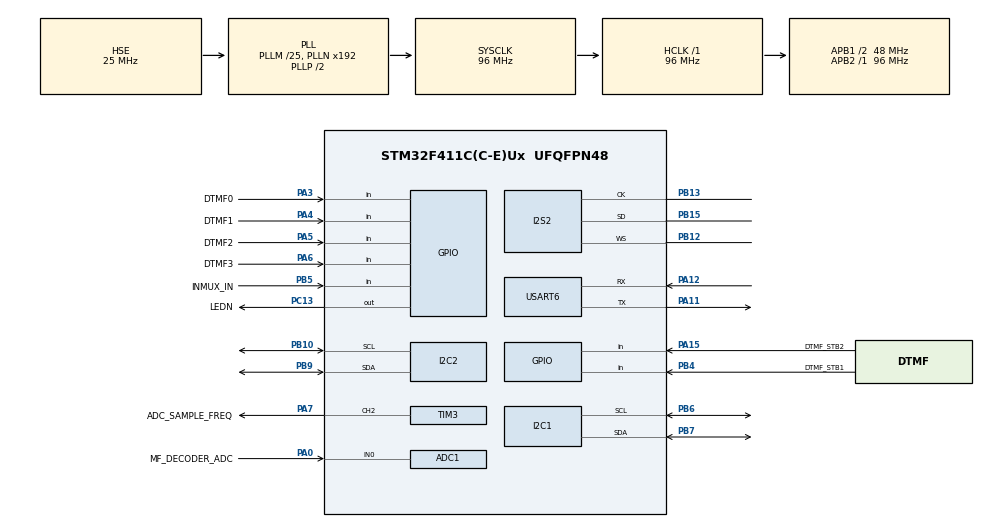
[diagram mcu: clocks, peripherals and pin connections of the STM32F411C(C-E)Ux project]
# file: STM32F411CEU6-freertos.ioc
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ADC1.Channel-6\#ChannelRegularConversion=ADC_CHANNEL_0
ADC1.ClockPrescaler=ADC_CLOCK_SYNC_PCLK_DIV8
ADC1.ContinuousConvMode=DISABLE
ADC1.DMAContinuousRequests=ENABLE
ADC1.DiscontinuousConvMode=DISABLE
ADC1.EnableAnalogWatchDog=true
ADC1.ExternalTrigConv=ADC_EXTERNALTRIGCONV_T3_TRGO
ADC1.InjNumberOfConversion=0
ADC1.NbrOfConversion=1
ADC1.NbrOfConversionFlag=1
ADC1.Rank-6\#ChannelRegularConversion=1
ADC1.SamplingTime-6\#ChannelRegularConversion=ADC_SAMPLETIME_112CYCLES
ADC1.ScanConvMode=DISABLE
ADC1.master=1
Dma.ADC1.0.Direction=DMA_PERIPH_TO_MEMORY
Dma.ADC1.0.FIFOMode=DMA_FIFOMODE_DISABLE
Dma.ADC1.0.Instance=DMA2_Stream0
Dma.ADC1.0.MemDataAlignment=DMA_MDATAALIGN_HALFWORD
Dma.ADC1.0.MemInc=DMA_MINC_ENABLE
Dma.ADC1.0.Mode=DMA_CIRCULAR
Dma.ADC1.0.PeriphDataAlignment=DMA_PDATAALIGN_HALFWORD
Dma.ADC1.0.PeriphInc=DMA_PINC_DISABLE
Dma.ADC1.0.Priority=DMA_PRIORITY_HIGH
Dma.I2C1_RX.5.Direction=DMA_PERIPH_TO_MEMORY
Dma.I2C1_RX.5.FIFOMode=DMA_FIFOMODE_DISABLE
Dma.I2C1_RX.5.Instance=DMA1_Stream0
Dma.I2C1_RX.5.MemDataAlignment=DMA_MDATAALIGN_BYTE
Dma.I2C1_RX.5.MemInc=DMA_MINC_ENABLE
Dma.I2C1_RX.5.Mode=DMA_NORMAL
Dma.I2C1_RX.5.PeriphDataAlignment=DMA_PDATAALIGN_BYTE
Dma.I2C1_RX.5.PeriphInc=DMA_PINC_DISABLE
Dma.I2C1_RX.5.Priority=DMA_PRIORITY_LOW
Dma.I2C1_TX.4.Direction=DMA_MEMORY_TO_PERIPH
Dma.I2C1_TX.4.FIFOMode=DMA_FIFOMODE_DISABLE
Dma.I2C1_TX.4.Instance=DMA1_Stream1
Dma.I2C1_TX.4.MemDataAlignment=DMA_MDATAALIGN_BYTE
Dma.I2C1_TX.4.MemInc=DMA_MINC_ENABLE
Dma.I2C1_TX.4.Mode=DMA_NORMAL
Dma.I2C1_TX.4.PeriphDataAlignment=DMA_PDATAALIGN_BYTE
Dma.I2C1_TX.4.PeriphInc=DMA_PINC_DISABLE
Dma.I2C1_TX.4.Priority=DMA_PRIORITY_LOW
Dma.I2C2_RX.3.Direction=DMA_PERIPH_TO_MEMORY
Dma.I2C2_RX.3.FIFOMode=DMA_FIFOMODE_DISABLE
Dma.I2C2_RX.3.Instance=DMA1_Stream2
Dma.I2C2_RX.3.MemDataAlignment=DMA_MDATAALIGN_BYTE
Dma.I2C2_RX.3.MemInc=DMA_MINC_ENABLE
Dma.I2C2_RX.3.Mode=DMA_NORMAL
Dma.I2C2_RX.3.PeriphDataAlignment=DMA_PDATAALIGN_BYTE
Dma.I2C2_RX.3.PeriphInc=DMA_PINC_DISABLE
Dma.I2C2_RX.3.Priority=DMA_PRIORITY_LOW
Dma.I2C2_TX.2.Direction=DMA_MEMORY_TO_PERIPH
Dma.I2C2_TX.2.FIFOMode=DMA_FIFOMODE_DISABLE
Dma.I2C2_TX.2.Instance=DMA1_Stream7
Dma.I2C2_TX.2.MemDataAlignment=DMA_MDATAALIGN_BYTE
Dma.I2C2_TX.2.MemInc=DMA_MINC_ENABLE
Dma.I2C2_TX.2.Mode=DMA_NORMAL
Dma.I2C2_TX.2.PeriphDataAlignment=DMA_PDATAALIGN_BYTE
Dma.I2C2_TX.2.PeriphInc=DMA_PINC_DISABLE
Dma.I2C2_TX.2.Priority=DMA_PRIORITY_LOW
Dma.Request0=ADC1
Dma.Request1=SPI2_TX
Dma.Request2=I2C2_TX
Dma.Request3=I2C2_RX
Dma.Request4=I2C1_TX
Dma.Request5=I2C1_RX
Dma.SPI2_TX.1.Direction=DMA_MEMORY_TO_PERIPH
Dma.SPI2_TX.1.FIFOMode=DMA_FIFOMODE_DISABLE
Dma.SPI2_TX.1.Instance=DMA1_Stream4
Dma.SPI2_TX.1.MemDataAlignment=DMA_MDATAALIGN_HALFWORD
Dma.SPI2_TX.1.MemInc=DMA_MINC_ENABLE
Dma.SPI2_TX.1.Mode=DMA_CIRCULAR
Dma.SPI2_TX.1.PeriphDataAlignment=DMA_PDATAALIGN_HALFWORD
Dma.SPI2_TX.1.PeriphInc=DMA_PINC_DISABLE
Dma.SPI2_TX.1.Priority=DMA_PRIORITY_HIGH
FREERTOS.Queues01=Queue_MF_buffer,1,uint8_t,0,Dynamic,NULL,NULL;Queue_I2S_Audio,1,uint8_t,0,Dynamic,NULL,NULL;Queue_I2C_Busses,4,I2C_Queue_Message,0,Dynamic,NULL,NULL
FREERTOS.Tasks01=Console,24,512,Task_console,Default,NULL,Dynamic,NULL,NULL;MF_Receiver,40,256,Task_MF_receiver,Default,NULL,Dynamic,NULL,NULL;Switch,24,1024,Task_Switch,Default,NULL,Dynamic,NULL,NULL;I2sAudio,40,256,Task_I2S_Audio,Default,NULL,Dynamic,NULL,NULL;I2C_Task,24,256,Task_I2C,Default,NULL,Dynamic,NULL,NULL
FREERTOS.configTOTAL_HEAP_SIZE=32768
FREERTOS.configUSE_NEWLIB_REENTRANT=1
I2C2.NoStretchMode=I2C_NOSTRETCH_DISABLE
I2S2.AudioFreq=I2S_AUDIOFREQ_8K
I2S2.ClockSource=I2S_CLOCK_PLL
I2S2.ErrorAudioFreq=0.15 %
I2S2.FullDuplexMode=I2S_FULLDUPLEXMODE_DISABLE
I2S2.Instance=SPI$Index
I2S2.RealAudioFreq=8.012 KHz
I2S2.VirtualMode=I2S_MODE_MASTER
Mcu.Family=STM32F4
Mcu.Name=STM32F411C(C-E)Ux
Mcu.Package=UFQFPN48
NVIC.DMA1_Stream0_IRQn=true\:5\:0\:false\:false\:true\:true\:false\:true\:true
NVIC.DMA1_Stream1_IRQn=true\:5\:0\:false\:false\:true\:true\:false\:true\:true
NVIC.DMA1_Stream2_IRQn=true\:5\:0\:false\:false\:true\:true\:false\:true\:true
NVIC.DMA1_Stream4_IRQn=true\:5\:0\:false\:false\:true\:true\:false\:true\:true
NVIC.DMA1_Stream7_IRQn=true\:5\:0\:false\:false\:true\:true\:false\:true\:true
NVIC.DMA2_Stream0_IRQn=true\:5\:0\:true\:false\:true\:true\:false\:true\:true
NVIC.I2C1_ER_IRQn=true\:5\:0\:false\:false\:true\:true\:true\:true\:true
NVIC.I2C1_EV_IRQn=true\:5\:0\:false\:false\:true\:true\:true\:true\:true
NVIC.I2C2_ER_IRQn=true\:5\:0\:false\:false\:true\:true\:true\:true\:true
NVIC.I2C2_EV_IRQn=true\:5\:0\:false\:false\:true\:true\:true\:true\:true
NVIC.PriorityGroup=NVIC_PRIORITYGROUP_4
NVIC.TIM1_UP_TIM10_IRQn=true\:15\:0\:false\:false\:true\:false\:false\:true\:true
NVIC.TimeBase=TIM1_UP_TIM10_IRQn
NVIC.TimeBaseIP=TIM10
NVIC.USART6_IRQn=true\:5\:0\:false\:false\:true\:true\:true\:true\:true
PA0-WKUP.GPIO_Label=MF_DECODER_ADC
PA0-WKUP.Signal=ADCx_IN0
PA11.Mode=Asynchronous
PA11.Signal=USART6_TX
PA12.Mode=Asynchronous
PA12.Signal=USART6_RX
PA13.Mode=Serial_Wire
PA13.Signal=SYS_JTMS-SWDIO
PA14.Mode=Serial_Wire
PA14.Signal=SYS_JTCK-SWCLK
PA15.GPIO_Label=DTMF_STB2
PA15.Signal=GPIO_Input
PA3.GPIO_Label=DTMF0
PA3.Signal=GPIO_Input
PA4.GPIO_Label=DTMF1
PA4.Signal=GPIO_Input
PA5.GPIO_Label=DTMF2
PA5.Signal=GPIO_Input
PA6.GPIO_Label=DTMF3
PA6.Signal=GPIO_Input
PA7.GPIO_Label=ADC_SAMPLE_FREQ
PA7.Signal=S_TIM3_CH2
PB10.GPIO_Pu=GPIO_PULLUP
PB10.Mode=I2C
PB10.Signal=I2C2_SCL
PB12.Mode=Half_Duplex_Master
PB12.Signal=I2S2_WS
PB13.Mode=Half_Duplex_Master
PB13.Signal=I2S2_CK
PB15.Mode=Half_Duplex_Master
PB15.Signal=I2S2_SD
PB4.GPIO_Label=DTMF_STB1
PB4.Signal=GPIO_Input
PB5.GPIO_Label=INMUX_IN
PB5.Signal=GPIO_Input
PB6.GPIO_Pu=GPIO_PULLUP
PB6.Mode=I2C
PB6.Signal=I2C1_SCL
PB7.GPIO_Pu=GPIO_PULLUP
PB7.Mode=I2C
PB7.Signal=I2C1_SDA
PB9.GPIO_Pu=GPIO_PULLUP
PB9.Mode=I2C
PB9.Signal=I2C2_SDA
PC13-ANTI_TAMP.GPIO_Label=LEDN
PC13-ANTI_TAMP.Signal=GPIO_Output
PH0\ -\ OSC_IN.Mode=HSE-External-Oscillator
PH0\ -\ OSC_IN.Signal=RCC_OSC_IN
PH1\ -\ OSC_OUT.Mode=HSE-External-Oscillator
PH1\ -\ OSC_OUT.Signal=RCC_OSC_OUT
ProjectManager.HeapSize=0x200
ProjectManager.StackSize=0x400
ProjectManager.TargetToolchain=STM32CubeIDE
RCC.48MHZClocksFreq_Value=48000000
RCC.AHBFreq_Value=96000000
RCC.APB1CLKDivider=RCC_HCLK_DIV2
RCC.APB1Freq_Value=48000000
RCC.APB1TimFreq_Value=96000000
RCC.APB2Freq_Value=96000000
RCC.APB2TimFreq_Value=96000000
RCC.CortexFreq_Value=96000000
RCC.EXTERNAL_CLOCK_VALUE=4096000
RCC.HCLKFreq_Value=96000000
RCC.HSE_VALUE=25000000
RCC.HSI_VALUE=16000000
RCC.LSE_VALUE=32768
RCC.PLLI2SM=20
RCC.PLLI2SN=80
RCC.PLLI2SR=6
RCC.PLLM=25
RCC.PLLSourceVirtual=RCC_PLLSOURCE_HSE
RCC.SYSCLKFreq_VALUE=96000000
RCC.SYSCLKSource=RCC_SYSCLKSOURCE_PLLCLK
RCC.VCOOutputFreq_Value=192000000
SH.ADCx_IN0.0=ADC1_IN0,IN0
SH.S_TIM3_CH2.0=TIM3_CH2,Output Compare2 CH2
TIM3.Channel-Output\ Compare2\ CH2=TIM_CHANNEL_2
TIM3.Channel-PWM\ Generation1\ No\ Output=TIM_CHANNEL_1
TIM3.OCMode_2=TIM_OCMODE_TOGGLE
TIM3.Period=6000-1
TIM3.Pulse-PWM\ Generation1\ No\ Output=3000
TIM3.TIM_MasterOutputTrigger=TIM_TRGO_UPDATE
USART6.VirtualMode=VM_ASYNC
VP_FREERTOS_VS_CMSIS_V2.Mode=CMSIS_V2
VP_SYS_VS_tim10.Mode=TIM10
VP_TIM3_VS_ClockSourceINT.Mode=Internal
VP_TIM3_VS_no_output1.Mode=PWM Generation1 No Output
VP_TIM4_VS_ClockSourceINT.Mode=Internal
board=custom

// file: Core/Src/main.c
/* USER CODE BEGIN Header */
/**
  ******************************************************************************
  * @file           : main.c
  * @brief          : Main program body
  ******************************************************************************
  * @attention
  *
  * Copyright (c) 2024 STMicroelectronics.
  * All rights reserved.
  *
  * This software is licensed under terms that can be found in the LICENSE file
  * in the root directory of this software component.
  * If no LICENSE file comes with this software, it is provided AS-IS.
  *
  ******************************************************************************
  */
/* USER CODE END Header */
#include "main.h"
#include "cmsis_os.h"

/* USER CODE BEGIN Includes */
#include "top.h"

/* USER CODE END Includes */

ADC_HandleTypeDef hadc1;
DMA_HandleTypeDef hdma_adc1;

I2C_HandleTypeDef hi2c1;
I2C_HandleTypeDef hi2c2;
DMA_HandleTypeDef hdma_i2c1_tx;
DMA_HandleTypeDef hdma_i2c1_rx;
DMA_HandleTypeDef hdma_i2c2_tx;
DMA_HandleTypeDef hdma_i2c2_rx;

I2S_HandleTypeDef hi2s2;
DMA_HandleTypeDef hdma_spi2_tx;

TIM_HandleTypeDef htim3;
TIM_HandleTypeDef htim4;

UART_HandleTypeDef huart6;

/* Definitions for Console */
osThreadId_t ConsoleHandle;
const osThreadAttr_t Console_attributes = {
  .name = "Console",
  .stack_size = 512 * 4,
  .priority = (osPriority_t) osPriorityNormal,
};
/* Definitions for MF_Receiver */
osThreadId_t MF_ReceiverHandle;
const osThreadAttr_t MF_Receiver_attributes = {
  .name = "MF_Receiver",
  .stack_size = 256 * 4,
  .priority = (osPriority_t) osPriorityHigh,
};
/* Definitions for Switch */
osThreadId_t SwitchHandle;
const osThreadAttr_t Switch_attributes = {
  .name = "Switch",
  .stack_size = 1024 * 4,
  .priority = (osPriority_t) osPriorityNormal,
};
/* Definitions for I2sAudio */
osThreadId_t I2sAudioHandle;
const osThreadAttr_t I2sAudio_attributes = {
  .name = "I2sAudio",
  .stack_size = 256 * 4,
  .priority = (osPriority_t) osPriorityHigh,
};
/* Definitions for I2C_Task */
osThreadId_t I2C_TaskHandle;
const osThreadAttr_t I2C_Task_attributes = {
  .name = "I2C_Task",
  .stack_size = 256 * 4,
  .priority = (osPriority_t) osPriorityNormal,
};
/* Definitions for Queue_MF_buffer */
osMessageQueueId_t Queue_MF_bufferHandle;
const osMessageQueueAttr_t Queue_MF_buffer_attributes = {
  .name = "Queue_MF_buffer"
};
/* Definitions for Queue_I2S_Audio */
osMessageQueueId_t Queue_I2S_AudioHandle;
const osMessageQueueAttr_t Queue_I2S_Audio_attributes = {
  .name = "Queue_I2S_Audio"
};
/* Definitions for Queue_I2C_Busses */
osMessageQueueId_t Queue_I2C_BussesHandle;
const osMessageQueueAttr_t Queue_I2C_Busses_attributes = {
  .name = "Queue_I2C_Busses"
};

void SystemClock_Config(void);
static void MX_GPIO_Init(void);
static void MX_DMA_Init(void);
static void MX_TIM3_Init(void);
static void MX_ADC1_Init(void);
static void MX_TIM4_Init(void);
static void MX_I2C1_Init(void);
static void MX_I2C2_Init(void);
static void MX_USART6_UART_Init(void);
static void MX_I2S2_Init(void);
void Task_console(void *argument);
void Task_MF_receiver(void *argument);
void Task_Switch(void *argument);
void Task_I2S_Audio(void *argument);
void Task_I2C(void *argument);

int main(void)
{

  /* MCU Configuration--------------------------------------------------------*/

  /* Reset of all peripherals, Initializes the Flash interface and the Systick. */
  HAL_Init();

  /* Configure the system clock */
  SystemClock_Config();

  /* Initialize all configured peripherals */
  MX_GPIO_Init();
  MX_DMA_Init();
  MX_TIM3_Init();
  MX_ADC1_Init();
  MX_TIM4_Init();
  MX_I2C1_Init();
  MX_I2C2_Init();
  MX_USART6_UART_Init();
  MX_I2S2_Init();

  /* Init scheduler */
  osKernelInitialize();

  /* Create the queue(s) */
  /* creation of Queue_MF_buffer */
  Queue_MF_bufferHandle = osMessageQueueNew (1, sizeof(uint8_t), &Queue_MF_buffer_attributes);

  /* creation of Queue_I2S_Audio */
  Queue_I2S_AudioHandle = osMessageQueueNew (1, sizeof(uint8_t), &Queue_I2S_Audio_attributes);

  /* creation of Queue_I2C_Busses */
  Queue_I2C_BussesHandle = osMessageQueueNew (4, sizeof(I2C_Queue_Message), &Queue_I2C_Busses_attributes);

  /* Create the thread(s) */
  /* creation of Console */
  ConsoleHandle = osThreadNew(Task_console, NULL, &Console_attributes);

  /* creation of MF_Receiver */
  MF_ReceiverHandle = osThreadNew(Task_MF_receiver, NULL, &MF_Receiver_attributes);

  /* creation of Switch */
  SwitchHandle = osThreadNew(Task_Switch, NULL, &Switch_attributes);

  /* creation of I2sAudio */
  I2sAudioHandle = osThreadNew(Task_I2S_Audio, NULL, &I2sAudio_attributes);

  /* creation of I2C_Task */
  I2C_TaskHandle = osThreadNew(Task_I2C, NULL, &I2C_Task_attributes);

  /* USER CODE BEGIN RTOS_EVENTS */

  Top_init(); /* Call initialization hook */
  /* add events, ... */
  /* USER CODE END RTOS_EVENTS */

  /* Start scheduler */
  osKernelStart();

  /* We should never get here as control is now taken by the scheduler */
  /* Infinite loop */
  while (1)
  {

  }
}

void SystemClock_Config(void)
{
  RCC_OscInitTypeDef RCC_OscInitStruct = {0};
  RCC_ClkInitTypeDef RCC_ClkInitStruct = {0};

  /** Configure the main internal regulator output voltage
  */
  __HAL_RCC_PWR_CLK_ENABLE();
  __HAL_PWR_VOLTAGESCALING_CONFIG(PWR_REGULATOR_VOLTAGE_SCALE1);

  /** Initializes the RCC Oscillators according to the specified parameters
  * in the RCC_OscInitTypeDef structure.
  */
  RCC_OscInitStruct.OscillatorType = RCC_OSCILLATORTYPE_HSE;
  RCC_OscInitStruct.HSEState = RCC_HSE_ON;
  RCC_OscInitStruct.PLL.PLLState = RCC_PLL_ON;
  RCC_OscInitStruct.PLL.PLLSource = RCC_PLLSOURCE_HSE;
  RCC_OscInitStruct.PLL.PLLM = 25;
  RCC_OscInitStruct.PLL.PLLN = 192;
  RCC_OscInitStruct.PLL.PLLP = RCC_PLLP_DIV2;
  RCC_OscInitStruct.PLL.PLLQ = 4;
  if (HAL_RCC_OscConfig(&RCC_OscInitStruct) != HAL_OK)
  {
    Error_Handler();
  }

  /** Initializes the CPU, AHB and APB buses clocks
  */
  RCC_ClkInitStruct.ClockType = RCC_CLOCKTYPE_HCLK|RCC_CLOCKTYPE_SYSCLK
                              |RCC_CLOCKTYPE_PCLK1|RCC_CLOCKTYPE_PCLK2;
  RCC_ClkInitStruct.SYSCLKSource = RCC_SYSCLKSOURCE_PLLCLK;
  RCC_ClkInitStruct.AHBCLKDivider = RCC_SYSCLK_DIV1;
  RCC_ClkInitStruct.APB1CLKDivider = RCC_HCLK_DIV2;
  RCC_ClkInitStruct.APB2CLKDivider = RCC_HCLK_DIV1;

  if (HAL_RCC_ClockConfig(&RCC_ClkInitStruct, FLASH_LATENCY_3) != HAL_OK)
  {
    Error_Handler();
  }
}

static void MX_ADC1_Init(void)
{

  ADC_AnalogWDGConfTypeDef AnalogWDGConfig = {0};
  ADC_ChannelConfTypeDef sConfig = {0};

  /** Configure the global features of the ADC (Clock, Resolution, Data Alignment and number of conversion)
  */
  hadc1.Instance = ADC1;
  hadc1.Init.ClockPrescaler = ADC_CLOCK_SYNC_PCLK_DIV8;
  hadc1.Init.Resolution = ADC_RESOLUTION_12B;
  hadc1.Init.ScanConvMode = DISABLE;
  hadc1.Init.ContinuousConvMode = DISABLE;
  hadc1.Init.DiscontinuousConvMode = DISABLE;
  hadc1.Init.ExternalTrigConvEdge = ADC_EXTERNALTRIGCONVEDGE_RISING;
  hadc1.Init.ExternalTrigConv = ADC_EXTERNALTRIGCONV_T3_TRGO;
  hadc1.Init.DataAlign = ADC_DATAALIGN_RIGHT;
  hadc1.Init.NbrOfConversion = 1;
  hadc1.Init.DMAContinuousRequests = ENABLE;
  hadc1.Init.EOCSelection = ADC_EOC_SINGLE_CONV;
  if (HAL_ADC_Init(&hadc1) != HAL_OK)
  {
    Error_Handler();
  }

  /** Configure the analog watchdog
  */
  AnalogWDGConfig.WatchdogMode = ADC_ANALOGWATCHDOG_SINGLE_REG;
  AnalogWDGConfig.HighThreshold = 0;
  AnalogWDGConfig.LowThreshold = 0;
  AnalogWDGConfig.Channel = ADC_CHANNEL_0;
  AnalogWDGConfig.ITMode = DISABLE;
  if (HAL_ADC_AnalogWDGConfig(&hadc1, &AnalogWDGConfig) != HAL_OK)
  {
    Error_Handler();
  }

  /** Configure for the selected ADC regular channel its corresponding rank in the sequencer and its sample time.
  */
  sConfig.Channel = ADC_CHANNEL_0;
  sConfig.Rank = 1;
  sConfig.SamplingTime = ADC_SAMPLETIME_112CYCLES;
  if (HAL_ADC_ConfigChannel(&hadc1, &sConfig) != HAL_OK)
  {
    Error_Handler();
  }

}

static void MX_I2C1_Init(void)
{

  hi2c1.Instance = I2C1;
  hi2c1.Init.ClockSpeed = 100000;
  hi2c1.Init.DutyCycle = I2C_DUTYCYCLE_2;
  hi2c1.Init.OwnAddress1 = 0;
  hi2c1.Init.AddressingMode = I2C_ADDRESSINGMODE_7BIT;
  hi2c1.Init.DualAddressMode = I2C_DUALADDRESS_DISABLE;
  hi2c1.Init.OwnAddress2 = 0;
  hi2c1.Init.GeneralCallMode = I2C_GENERALCALL_DISABLE;
  hi2c1.Init.NoStretchMode = I2C_NOSTRETCH_DISABLE;
  if (HAL_I2C_Init(&hi2c1) != HAL_OK)
  {
    Error_Handler();
  }

}

static void MX_I2C2_Init(void)
{

  hi2c2.Instance = I2C2;
  hi2c2.Init.ClockSpeed = 100000;
  hi2c2.Init.DutyCycle = I2C_DUTYCYCLE_2;
  hi2c2.Init.OwnAddress1 = 0;
  hi2c2.Init.AddressingMode = I2C_ADDRESSINGMODE_7BIT;
  hi2c2.Init.DualAddressMode = I2C_DUALADDRESS_DISABLE;
  hi2c2.Init.OwnAddress2 = 0;
  hi2c2.Init.GeneralCallMode = I2C_GENERALCALL_DISABLE;
  hi2c2.Init.NoStretchMode = I2C_NOSTRETCH_DISABLE;
  if (HAL_I2C_Init(&hi2c2) != HAL_OK)
  {
    Error_Handler();
  }

}

static void MX_I2S2_Init(void)
{

  hi2s2.Instance = SPI2;
  hi2s2.Init.Mode = I2S_MODE_MASTER_TX;
  hi2s2.Init.Standard = I2S_STANDARD_PHILIPS;
  hi2s2.Init.DataFormat = I2S_DATAFORMAT_16B;
  hi2s2.Init.MCLKOutput = I2S_MCLKOUTPUT_DISABLE;
  hi2s2.Init.AudioFreq = I2S_AUDIOFREQ_8K;
  hi2s2.Init.CPOL = I2S_CPOL_LOW;
  hi2s2.Init.ClockSource = I2S_CLOCK_PLL;
  hi2s2.Init.FullDuplexMode = I2S_FULLDUPLEXMODE_DISABLE;
  if (HAL_I2S_Init(&hi2s2) != HAL_OK)
  {
    Error_Handler();
  }

}

static void MX_TIM3_Init(void)
{

  TIM_ClockConfigTypeDef sClockSourceConfig = {0};
  TIM_MasterConfigTypeDef sMasterConfig = {0};
  TIM_OC_InitTypeDef sConfigOC = {0};

  htim3.Instance = TIM3;
  htim3.Init.Prescaler = 0;
  htim3.Init.CounterMode = TIM_COUNTERMODE_UP;
  htim3.Init.Period = 6000-1;
  htim3.Init.ClockDivision = TIM_CLOCKDIVISION_DIV1;
  htim3.Init.AutoReloadPreload = TIM_AUTORELOAD_PRELOAD_DISABLE;
  if (HAL_TIM_Base_Init(&htim3) != HAL_OK)
  {
    Error_Handler();
  }
  sClockSourceConfig.ClockSource = TIM_CLOCKSOURCE_INTERNAL;
  if (HAL_TIM_ConfigClockSource(&htim3, &sClockSourceConfig) != HAL_OK)
  {
    Error_Handler();
  }
  if (HAL_TIM_PWM_Init(&htim3) != HAL_OK)
  {
    Error_Handler();
  }
  if (HAL_TIM_OC_Init(&htim3) != HAL_OK)
  {
    Error_Handler();
  }
  sMasterConfig.MasterOutputTrigger = TIM_TRGO_UPDATE;
  sMasterConfig.MasterSlaveMode = TIM_MASTERSLAVEMODE_DISABLE;
  if (HAL_TIMEx_MasterConfigSynchronization(&htim3, &sMasterConfig) != HAL_OK)
  {
    Error_Handler();
  }
  sConfigOC.OCMode = TIM_OCMODE_PWM1;
  sConfigOC.Pulse = 3000;
  sConfigOC.OCPolarity = TIM_OCPOLARITY_HIGH;
  sConfigOC.OCFastMode = TIM_OCFAST_DISABLE;
  if (HAL_TIM_PWM_ConfigChannel(&htim3, &sConfigOC, TIM_CHANNEL_1) != HAL_OK)
  {
    Error_Handler();
  }
  sConfigOC.OCMode = TIM_OCMODE_TOGGLE;
  sConfigOC.Pulse = 0;
  if (HAL_TIM_OC_ConfigChannel(&htim3, &sConfigOC, TIM_CHANNEL_2) != HAL_OK)
  {
    Error_Handler();
  }
  HAL_TIM_MspPostInit(&htim3);

}

static void MX_TIM4_Init(void)
{

  TIM_ClockConfigTypeDef sClockSourceConfig = {0};
  TIM_MasterConfigTypeDef sMasterConfig = {0};

  htim4.Instance = TIM4;
  htim4.Init.Prescaler = 0;
  htim4.Init.CounterMode = TIM_COUNTERMODE_UP;
  htim4.Init.Period = 65535;
  htim4.Init.ClockDivision = TIM_CLOCKDIVISION_DIV1;
  htim4.Init.AutoReloadPreload = TIM_AUTORELOAD_PRELOAD_DISABLE;
  if (HAL_TIM_Base_Init(&htim4) != HAL_OK)
  {
    Error_Handler();
  }
  sClockSourceConfig.ClockSource = TIM_CLOCKSOURCE_INTERNAL;
  if (HAL_TIM_ConfigClockSource(&htim4, &sClockSourceConfig) != HAL_OK)
  {
    Error_Handler();
  }
  sMasterConfig.MasterOutputTrigger = TIM_TRGO_RESET;
  sMasterConfig.MasterSlaveMode = TIM_MASTERSLAVEMODE_DISABLE;
  if (HAL_TIMEx_MasterConfigSynchronization(&htim4, &sMasterConfig) != HAL_OK)
  {
    Error_Handler();
  }

}

static void MX_USART6_UART_Init(void)
{

  huart6.Instance = USART6;
  huart6.Init.BaudRate = 115200;
  huart6.Init.WordLength = UART_WORDLENGTH_8B;
  huart6.Init.StopBits = UART_STOPBITS_1;
  huart6.Init.Parity = UART_PARITY_NONE;
  huart6.Init.Mode = UART_MODE_TX_RX;
  huart6.Init.HwFlowCtl = UART_HWCONTROL_NONE;
  huart6.Init.OverSampling = UART_OVERSAMPLING_16;
  if (HAL_UART_Init(&huart6) != HAL_OK)
  {
    Error_Handler();
  }

}

static void MX_DMA_Init(void)
{

  /* DMA controller clock enable */
  __HAL_RCC_DMA2_CLK_ENABLE();
  __HAL_RCC_DMA1_CLK_ENABLE();

  /* DMA interrupt init */
  /* DMA1_Stream0_IRQn interrupt configuration */
  HAL_NVIC_SetPriority(DMA1_Stream0_IRQn, 5, 0);
  HAL_NVIC_EnableIRQ(DMA1_Stream0_IRQn);
  /* DMA1_Stream1_IRQn interrupt configuration */
  HAL_NVIC_SetPriority(DMA1_Stream1_IRQn, 5, 0);
  HAL_NVIC_EnableIRQ(DMA1_Stream1_IRQn);
  /* DMA1_Stream2_IRQn interrupt configuration */
  HAL_NVIC_SetPriority(DMA1_Stream2_IRQn, 5, 0);
  HAL_NVIC_EnableIRQ(DMA1_Stream2_IRQn);
  /* DMA1_Stream4_IRQn interrupt configuration */
  HAL_NVIC_SetPriority(DMA1_Stream4_IRQn, 5, 0);
  HAL_NVIC_EnableIRQ(DMA1_Stream4_IRQn);
  /* DMA1_Stream7_IRQn interrupt configuration */
  HAL_NVIC_SetPriority(DMA1_Stream7_IRQn, 5, 0);
  HAL_NVIC_EnableIRQ(DMA1_Stream7_IRQn);
  /* DMA2_Stream0_IRQn interrupt configuration */
  HAL_NVIC_SetPriority(DMA2_Stream0_IRQn, 5, 0);
  HAL_NVIC_EnableIRQ(DMA2_Stream0_IRQn);

}

static void MX_GPIO_Init(void)
{
  GPIO_InitTypeDef GPIO_InitStruct = {0};

  /* GPIO Ports Clock Enable */
  __HAL_RCC_GPIOC_CLK_ENABLE();
  __HAL_RCC_GPIOH_CLK_ENABLE();
  __HAL_RCC_GPIOA_CLK_ENABLE();
  __HAL_RCC_GPIOB_CLK_ENABLE();

  /*Configure GPIO pin Output Level */
  HAL_GPIO_WritePin(LEDN_GPIO_Port, LEDN_Pin, GPIO_PIN_RESET);

  /*Configure GPIO pin : LEDN_Pin */
  GPIO_InitStruct.Pin = LEDN_Pin;
  GPIO_InitStruct.Mode = GPIO_MODE_OUTPUT_PP;
  GPIO_InitStruct.Pull = GPIO_NOPULL;
  GPIO_InitStruct.Speed = GPIO_SPEED_FREQ_LOW;
  HAL_GPIO_Init(LEDN_GPIO_Port, &GPIO_InitStruct);

  /*Configure GPIO pins : DTMF0_Pin DTMF1_Pin DTMF2_Pin DTMF3_Pin
                           DTMF_STB2_Pin */
  GPIO_InitStruct.Pin = DTMF0_Pin|DTMF1_Pin|DTMF2_Pin|DTMF3_Pin
                          |DTMF_STB2_Pin;
  GPIO_InitStruct.Mode = GPIO_MODE_INPUT;
  GPIO_InitStruct.Pull = GPIO_NOPULL;
  HAL_GPIO_Init(GPIOA, &GPIO_InitStruct);

  /*Configure GPIO pins : DTMF_STB1_Pin INMUX_IN_Pin */
  GPIO_InitStruct.Pin = DTMF_STB1_Pin|INMUX_IN_Pin;
  GPIO_InitStruct.Mode = GPIO_MODE_INPUT;
  GPIO_InitStruct.Pull = GPIO_NOPULL;
  HAL_GPIO_Init(GPIOB, &GPIO_InitStruct);

}

/* USER CODE BEGIN 4 */

/* Called when the first half of the buffer is filled */
void HAL_ADC_ConvHalfCpltCallback(ADC_HandleTypeDef* hadc1) {
	uint8_t msg = 0;
	osMessageQueuePut(Queue_MF_bufferHandle, &msg, 0U, 0U); /* Send message to MF receiver task */
}

/* Called when the second half of the buffer is filled */
void HAL_ADC_ConvCpltCallback(ADC_HandleTypeDef* hadc1) {
	uint8_t msg = 1;
	osMessageQueuePut(Queue_MF_bufferHandle, &msg, 0U, 0U); /* Send message to MF receiver task */
}

/* Called when the first half of the audio buffer has been transmitted */
void HAL_I2S_TxHalfCpltCallback(I2S_HandleTypeDef *hi2s) {
	uint8_t msg = 0;
	osMessageQueuePut(Queue_I2S_AudioHandle, &msg, 0U, 0U); /* Send message to audio processing task */
}

/* Called when the second half of the audio buffer has been transmitted */
void HAL_I2S_TxCpltCallback(I2S_HandleTypeDef *hi2s) {
	uint8_t msg = 1;
	osMessageQueuePut(Queue_I2S_AudioHandle, &msg, 0U, 0U); /* Send message to audio processing task */
}

/* Called when the I2C master transmission completes */
void HAL_I2C_MasterTxCpltCallback(I2C_HandleTypeDef *hi2c) {
	uint8_t bus;
	I2C_Queue_Message msg;
	if (hi2c == &hi2c1) {
		bus = 0;
	}
	else {
		bus = 1;
	}
	msg.bus = bus;
	msg.type = MSG_I2C_TX;
	msg.handle = hi2c;
	osMessageQueuePut(Queue_I2C_BussesHandle, &msg, 0U, 0U); /* Send message to I2C task */

}

/* Called when the I2C master reception completes */
void HAL_I2C_MasterRxCpltCallback(I2C_HandleTypeDef *hi2c) {
	uint8_t bus;
	I2C_Queue_Message msg;
	if (hi2c == &hi2c1) {
		bus = 0;
	}
	else {
		bus = 1;
	}
	msg.bus = bus;
	msg.type = MSG_I2C_RX;
	msg.handle = hi2c;
	osMessageQueuePut(Queue_I2C_BussesHandle, &msg, 0U, 0U); /* Send message to I2C task */
}

/* Called when an error occurs during an I2C transaction */
void HAL_I2C_ErrorCallback(I2C_HandleTypeDef *hi2c) {
	uint8_t bus;
	static I2C_Queue_Message msg;
	if (hi2c == &hi2c1) {
		bus = 0;
	}
	else {
		bus = 1;
	}
	msg.bus = bus;
	msg.type = MSG_I2C_ERR;
	msg.handle = hi2c;
	osMessageQueuePut(Queue_I2C_BussesHandle, &msg, 0U, 0U); /* Send message to I2C task */
}

/* USER CODE END 4 */

void Task_console(void *argument)
{
  /* USER CODE BEGIN 5 */
  /* Infinite loop */
  for(;;)
  {
	 Top_console_task();
  }
  osThreadTerminate(NULL);
  /* USER CODE END 5 */
}

void Task_MF_receiver(void *argument)
{
  /* USER CODE BEGIN Task_MF_receiver */
  /* Infinite loop */
  uint8_t msg;
  for(;;)
  {
	osStatus_t status;
	status = osMessageQueueGet(Queue_MF_bufferHandle, &msg, NULL, osWaitForever); /* Wait for message */
	if(status == osOK) {
		Top_process_MF_frame(msg);
	}

  }
  osThreadTerminate(NULL);
  /* USER CODE END Task_MF_receiver */
}

void Task_Switch(void *argument)
{
  /* USER CODE BEGIN Task_Switch */
  /* Infinite loop */
  for(;;)
  {
    Top_switch_task();
  }
  osThreadTerminate(NULL);
  /* USER CODE END Task_Switch */
}

void Task_I2S_Audio(void *argument)
{
  /* USER CODE BEGIN Task_I2S_Audio */
  /* Infinite loop */
  uint8_t msg;
  for(;;)
  {
	  osStatus_t status;
	  status = osMessageQueueGet(Queue_I2S_AudioHandle, &msg, NULL, osWaitForever); /* Wait for message */
	  if(status == osOK) {
		  Top_send_I2S_Audio_Frame(msg);
	  }
  }
  osThreadTerminate(NULL);
  /* USER CODE END Task_I2S_Audio */
}

void Task_I2C(void *argument)
{
  /* USER CODE BEGIN Task_I2C */
  /* Infinite loop */
  for(;;)
  {
    Top_i2c_task();
  }
  osThreadTerminate(NULL);
  /* USER CODE END Task_I2C */
}

void HAL_TIM_PeriodElapsedCallback(TIM_HandleTypeDef *htim)
{
  if (htim->Instance == TIM10) {
    HAL_IncTick();
  }
}

void Error_Handler(void)
{
  __disable_irq();
  while (1)
  {
  }
}
